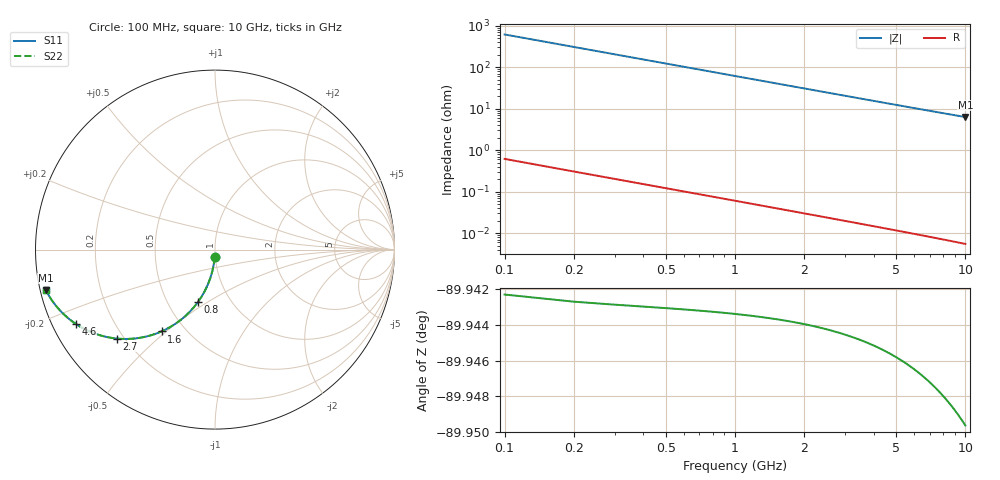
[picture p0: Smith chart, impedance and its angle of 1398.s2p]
# Hz S RI R 50.00
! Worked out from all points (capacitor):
!   100 points, 100 MHz to 10 GHz, reference 50 ohm
!   read as one part in shunt: C = 2.59 pF near 100 MHz
!   lowest |Z| = 6.3 ohm at 10 GHz (marker M1)
!   S11 on the Smith chart (normalised r, x): 100 MHz: 0.99, -0.08; 800 MHz: 0.70, -0.46; 1.6 GHz: 0.37, -0.48; 2.7 GHz: 0.17, -0.38; 4.6 GHz: 0.07, -0.25; 10 GHz: 0.02, -0.12
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1e8  -0.00166 -0.0406  0.9983 -0.0407  0.9983 -0.0407  -0.00166 -0.0406
2e8  -0.00663 -0.0807  0.9933 -0.0809  0.9933 -0.0809  -0.00663 -0.0807
3e8  -0.0148 -0.1201  0.9852 -0.1204  0.9852 -0.1204  -0.0148 -0.1201
4e8  -0.0259 -0.1582  0.974 -0.1587  0.974 -0.1587  -0.0259 -0.1582
5e8  -0.0399 -0.1949  0.9601 -0.1956  0.9601 -0.1956  -0.0399 -0.1949
6e8  -0.0564 -0.2299  0.9435 -0.2306  0.9435 -0.2306  -0.0564 -0.2299
8e8  -0.096 -0.2936  0.904 -0.2946  0.904 -0.2946  -0.096 -0.2936
1e9  -0.1422 -0.3482  0.8577 -0.3494  0.8577 -0.3494  -0.1422 -0.3482
1.2e9  -0.1926 -0.3931  0.8073 -0.3946  0.8073 -0.3946  -0.1926 -0.3931
1.4e9  -0.245 -0.4287  0.7549 -0.4305  0.7549 -0.4305  -0.245 -0.4287
1.6e9  -0.2976 -0.4557  0.7023 -0.4577  0.7023 -0.4577  -0.2976 -0.4557
1.8e9  -0.349 -0.475  0.651 -0.4773  0.651 -0.4773  -0.349 -0.475
2.2e9  -0.4445 -0.495  0.5554 -0.4978  0.5554 -0.4978  -0.4445 -0.495
2.7e9  -0.5463 -0.4957  0.4536 -0.499  0.4536 -0.499  -0.5463 -0.4957
3.4e9  -0.6561 -0.4724  0.3438 -0.4766  0.3438 -0.4766  -0.6561 -0.4724
4e9  -0.7251 -0.4434  0.2748 -0.4484  0.2748 -0.4484  -0.7251 -0.4434
4.6e9  -0.7771 -0.4128  0.2228 -0.4185  0.2228 -0.4185  -0.7771 -0.4128
5.1e9  -0.8108 -0.388  0.1892 -0.3943  0.1892 -0.3943  -0.8108 -0.388
5.8e9  -0.8471 -0.3557  0.1529 -0.363  0.1529 -0.363  -0.8471 -0.3557
6.7e9  -0.8808 -0.3193  0.1191 -0.3277  0.1191 -0.3277  -0.8808 -0.3193
8.4e9  -0.9207 -0.2643  0.0792 -0.2749  0.0792 -0.2749  -0.9207 -0.2643
1e10  -0.9428 -0.2252  0.0571 -0.238  0.0571 -0.238  -0.9428 -0.2252
